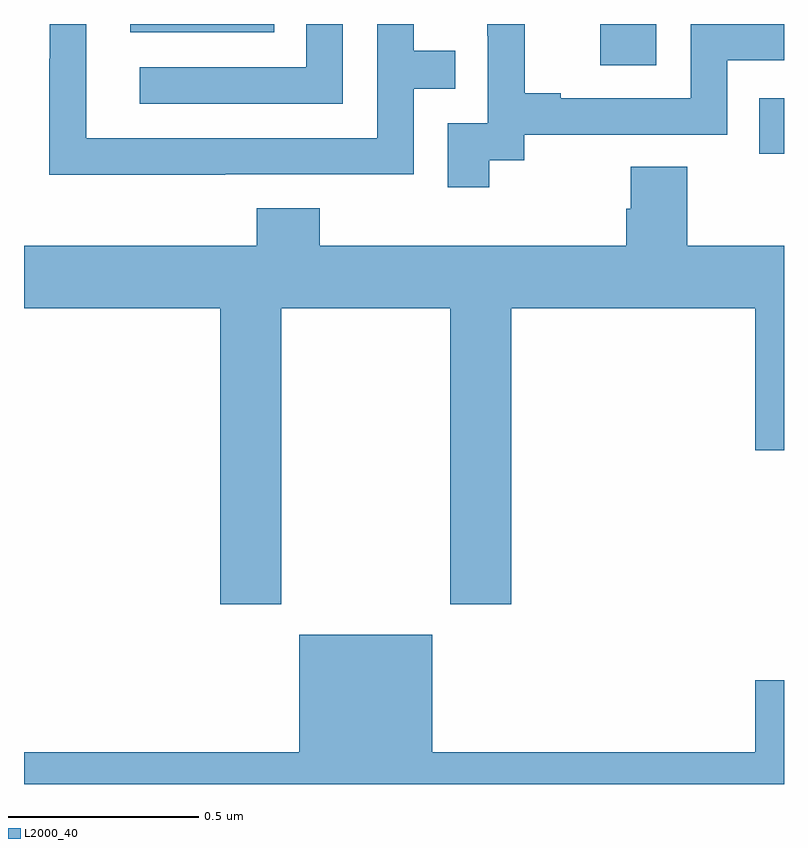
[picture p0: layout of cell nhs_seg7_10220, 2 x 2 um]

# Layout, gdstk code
import gdstk
lib = gdstk.Library(unit=1e-6, precision=1e-09)
def R(c, l, rs):  # rectangles x0, y0, x1, y1
    for r in rs: c.add(gdstk.rectangle(r[:2], r[2:], *l))
def P(c, l, *ps):  # polygons
    for p in ps: c.add(gdstk.Polygon(p, *l))
L2000_40 = (2000, 40)

nhs_seg7_10220 = lib.new_cell('nhs_seg7_10220')
R(nhs_seg7_10220, L2000_40, [(248.935,1031.658,249,1031.805), (248.517,1031.892,248.664,1032), (247.28,1031.978,247.658,1032)])
P(nhs_seg7_10220, L2000_40, [(247.529,1031.604),(248.025,1031.604),(248.025,1031.829),(248.135,1031.829),(248.135,1031.93),(248.025,1031.93),(248.025,1032),(247.929,1032),(247.929,1031.7),(247.164,1031.7),(247.164,1032),(247.068,1032),(247.068,1031.909),(247.066,1031.909),(247.066,1031.603),(247.529,1031.603)],
  [(247.839,1032),(247.743,1032),(247.743,1031.886),(247.305,1031.886),(247.305,1031.79),(247.839,1031.79)],
  [(248.224,1031.641),(248.316,1031.641),(248.316,1031.709),(248.85,1031.709),(248.85,1031.904),(249,1031.904),(249,1032),(248.754,1032),(248.754,1031.805),(248.413,1031.805),(248.413,1031.818),(248.318,1031.818),(248.318,1032),(248.219,1032),(248.219,1031.969),(248.22,1031.969),(248.22,1031.739),(248.115,1031.739),(248.115,1031.571),(248.224,1031.571)],
  [(247.677,1031.252),(248.122,1031.252),(248.122,1030.473),(248.282,1030.473),(248.282,1031.252),(248.924,1031.252),(248.924,1030.878),(249,1030.878),(249,1031.416),(248.745,1031.416),(248.745,1031.624),(248.597,1031.624),(248.597,1031.514),(248.585,1031.514),(248.585,1031.416),(247.778,1031.416),(247.778,1031.515),(247.613,1031.515),(247.613,1031.416),(247,1031.416),(247,1031.252),(247.517,1031.252),(247.517,1030.473),(247.677,1030.473)],
  [(249,1030.273),(248.924,1030.273),(248.924,1030.084),(248.074,1030.084),(248.074,1030.393),(247.724,1030.393),(247.724,1030.084),(247,1030.084),(247,1030),(249,1030)])

lib.write_gds('nhs_seg7_10220.gds')
